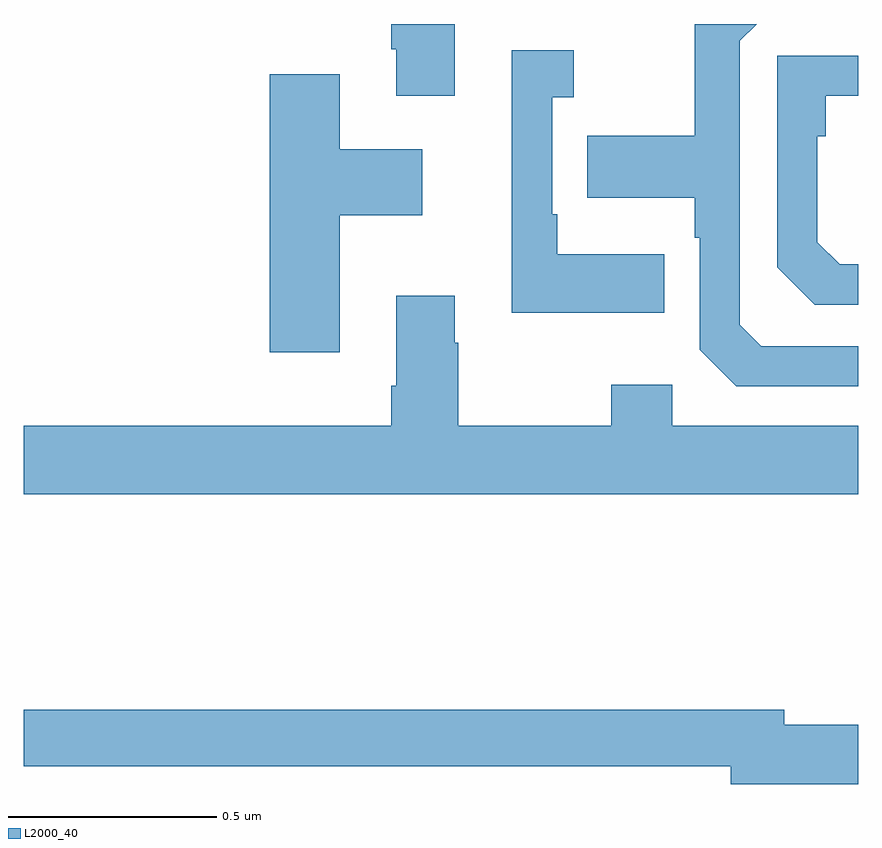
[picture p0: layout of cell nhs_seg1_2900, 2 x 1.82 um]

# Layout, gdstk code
import gdstk
lib = gdstk.Library(unit=1e-6, precision=1e-09)
def P(c, l, *ps):  # polygons
    for p in ps: c.add(gdstk.Polygon(p, *l))
L2000_40 = (2000, 40)

nhs_seg1_2900 = lib.new_cell('nhs_seg1_2900')
P(nhs_seg1_2900, L2000_40, [(148.033,546.199),(147.881,546.199),(147.881,546.139),(147.893,546.139),(147.893,546.027),(148.033,546.027)],
  [(149,545.427),(148.767,545.427),(148.716,545.478),(148.716,546.159),(148.756,546.199),(148.608,546.199),(148.608,545.931),(148.351,545.931),(148.351,545.783),(148.608,545.783),(148.608,545.687),(148.62,545.687),(148.62,545.418),(148.707,545.331),(149,545.331)],
  [(148.535,545.647),(148.279,545.647),(148.279,545.743),(148.266,545.743),(148.266,546.023),(148.318,546.023),(148.318,546.136),(148.169,546.136),(148.169,545.507),(148.535,545.507)],
  [(149,545.623),(148.955,545.623),(148.902,545.676),(148.902,545.93),(148.922,545.93),(148.922,546.027),(149,546.027),(149,546.123),(148.806,546.123),(148.806,545.616),(148.896,545.526),(149,545.526)],
  [(147.757,545.741),(147.955,545.741),(147.955,545.899),(147.757,545.899),(147.757,546.079),(147.59,546.079),(147.59,545.412),(147.757,545.412)],
  [(149,545.236),(148.554,545.236),(148.554,545.335),(148.408,545.335),(148.408,545.236),(148.041,545.236),(148.041,545.435),(148.033,545.435),(148.033,545.548),(147.893,545.548),(147.893,545.332),(147.881,545.332),(147.881,545.236),(147,545.236),(147,545.072),(149,545.072)],
  [(149,544.52),(148.822,544.52),(148.822,544.556),(147,544.556),(147,544.42),(148.694,544.42),(148.694,544.378),(149,544.378)])

lib.write_gds('nhs_seg1_2900.gds')
